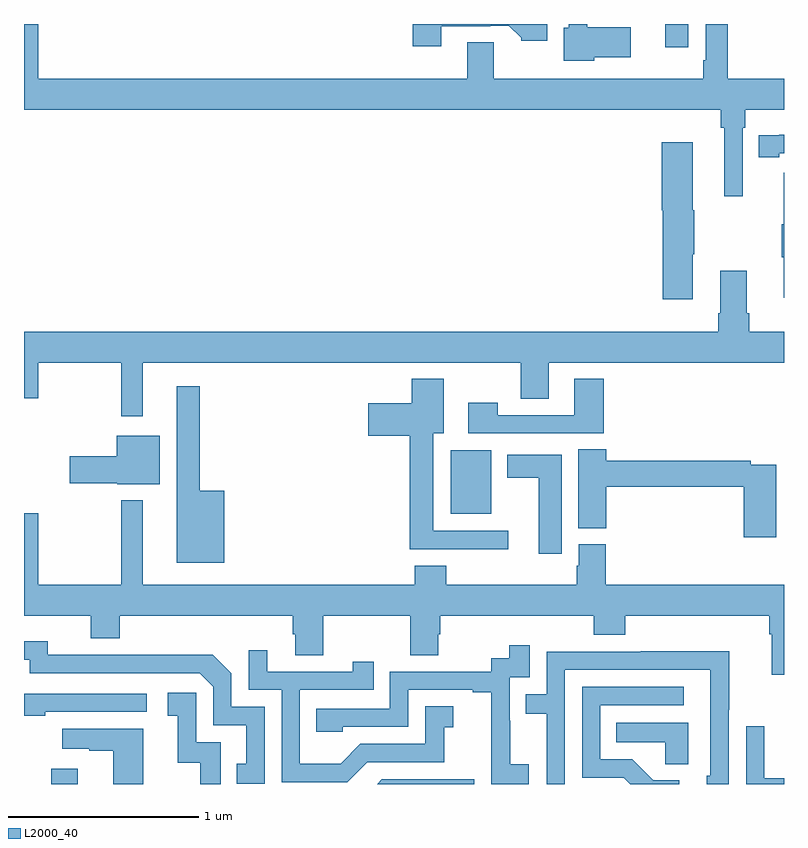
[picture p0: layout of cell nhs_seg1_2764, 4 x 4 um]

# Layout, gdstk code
import gdstk
lib = gdstk.Library(unit=1e-6, precision=1e-09)
def R(c, l, rs):  # rectangles x0, y0, x1, y1
    for r in rs: c.add(gdstk.rectangle(r[:2], r[2:], *l))
def P(c, l, *ps):  # polygons
    for p in ps: c.add(gdstk.Polygon(p, *l))
L2000_40 = (2000, 40)

nhs_seg1_2764 = lib.new_cell('nhs_seg1_2764')
R(nhs_seg1_2764, L2000_40, [(261.143,532.199,261.283,532.279), (263.246,533.621,263.458,533.956), (264.374,536.076,264.496,536.199)])
P(nhs_seg1_2764, L2000_40, [(264.783,535.652),(264.797,535.652),(264.797,535.748),(265,535.748),(265,535.912),(264.704,535.912),(264.704,536.199),(264.588,536.199),(264.588,536.008),(264.576,536.008),(264.576,535.912),(263.473,535.912),(263.473,536.102),(263.333,536.102),(263.333,535.912),(261.076,535.912),(261.076,536.199),(261,536.199),(261,535.748),(264.667,535.748),(264.667,535.652),(264.686,535.652),(264.686,535.293),(264.783,535.293)],
  [(263.197,536.187),(263.453,536.187),(263.453,536.19),(263.552,536.19),(263.616,536.126),(263.616,536.111),(263.755,536.111),(263.755,536.199),(263.045,536.199),(263.045,536.082),(263.197,536.082)],
  [(264,536.024),(264.193,536.024),(264.193,536.182),(263.964,536.182),(263.964,536.199),(263.868,536.199),(263.868,536.178),(263.84,536.178),(263.84,536.006),(264,536.006)],
  [(264.976,535.518),(265,535.518),(265,535.615),(264.976,535.615),(264.976,535.614),(264.868,535.614),(264.868,535.498),(264.976,535.498)],
  [(264.52,534.988),(264.528,534.988),(264.528,535.218),(264.52,535.218),(264.52,535.576),(264.356,535.576),(264.356,535.218),(264.362,535.218),(264.362,534.75),(264.52,534.75)],
  [(265,535.417),(264.998,535.417),(264.998,535.145),(264.987,535.145),(264.987,534.971),(264.998,534.971),(264.998,534.759),(265,534.759)],
  [(261.625,534.416),(263.614,534.416),(263.614,534.226),(263.761,534.226),(263.761,534.416),(265,534.416),(265,534.58),(264.818,534.58),(264.818,534.676),(264.805,534.676),(264.805,534.901),(264.665,534.901),(264.665,534.676),(264.653,534.676),(264.653,534.58),(261,534.58),(261,534.228),(261.076,534.228),(261.076,534.416),(261.511,534.416),(261.511,534.135),(261.625,534.135)],
  [(264.05,534.331),(263.897,534.331),(263.897,534.141),(263.493,534.141),(263.493,534.205),(263.337,534.205),(263.337,534.045),(264.05,534.045)],
  [(263.548,533.532),(263.155,533.532),(263.155,534.044),(263.209,534.044),(263.209,534.331),(263.042,534.331),(263.042,534.202),(262.812,534.202),(262.812,534.032),(263.03,534.032),(263.03,533.435),(263.548,533.435)],
  [(262.054,533.743),(261.925,533.743),(261.925,534.292),(261.803,534.292),(261.803,533.363),(262.054,533.363)],
  [(261.715,534.031),(261.488,534.031),(261.488,533.925),(261.24,533.925),(261.24,533.783),(261.492,533.783),(261.492,533.777),(261.715,533.777)],
  [(264.958,533.88),(264.824,533.88),(264.824,533.9),(264.065,533.9),(264.065,533.96),(263.918,533.96),(263.918,533.545),(264.065,533.545),(264.065,533.764),(264.788,533.764),(264.788,533.499),(264.958,533.499)],
  [(263.83,533.932),(263.543,533.932),(263.543,533.81),(263.708,533.81),(263.708,533.412),(263.83,533.412)],
  [(265,533.248),(264.062,533.248),(264.062,533.46),(263.921,533.46),(263.921,533.349),(263.909,533.349),(263.909,533.248),(263.222,533.248),(263.222,533.347),(263.057,533.347),(263.057,533.248),(261.625,533.248),(261.625,533.692),(261.511,533.692),(261.511,533.248),(261.076,533.248),(261.076,533.623),(261,533.623),(261,533.084),(261.35,533.084),(261.35,532.967),(261.503,532.967),(261.503,533.084),(262.415,533.084),(262.415,532.986),(262.427,532.986),(262.427,532.876),(262.575,532.876),(262.575,533.084),(263.032,533.084),(263.032,532.876),(263.179,532.876),(263.179,532.986),(263.192,532.986),(263.192,533.084),(263.999,533.084),(263.999,532.985),(264.164,532.985),(264.164,533.084),(264.923,533.084),(264.923,532.988),(264.935,532.988),(264.935,532.775),(265,532.775)],
  [(262.266,532.605),(262.092,532.605),(262.092,532.782),(261.994,532.88),(261.586,532.88),(261.586,532.878),(261.126,532.878),(261.126,532.951),(261,532.951),(261,532.854),(261.03,532.854),(261.03,532.782),(261.924,532.782),(261.996,532.71),(261.996,532.509),(262.169,532.509),(262.169,532.305),(262.12,532.305),(262.12,532.2),(262.266,532.2)],
  [(263.656,532.303),(263.558,532.303),(263.558,532.532),(263.556,532.532),(263.556,532.761),(263.661,532.761),(263.661,532.93),(263.553,532.93),(263.553,532.86),(263.46,532.86),(263.46,532.791),(262.926,532.791),(262.926,532.596),(262.537,532.596),(262.537,532.473),(262.677,532.473),(262.677,532.5),(263.022,532.5),(263.022,532.695),(263.363,532.695),(263.363,532.683),(263.459,532.683),(263.459,532.399),(263.458,532.399),(263.458,532.199),(263.656,532.199)],
  [(262.807,532.314),(263.211,532.314),(263.211,532.499),(263.26,532.499),(263.26,532.609),(263.112,532.609),(263.112,532.41),(262.77,532.41),(262.666,532.306),(262.452,532.306),(262.452,532.695),(262.841,532.695),(262.841,532.843),(262.73,532.843),(262.73,532.791),(262.279,532.791),(262.279,532.903),(262.182,532.903),(262.182,532.695),(262.356,532.695),(262.356,532.209),(262.702,532.209)],
  [(263.847,532.8),(264.612,532.8),(264.612,532.242),(264.593,532.242),(264.593,532.199),(264.708,532.199),(264.708,532.591),(264.711,532.591),(264.711,532.898),(264.247,532.898),(264.247,532.896),(263.751,532.896),(263.751,532.671),(263.641,532.671),(263.641,532.57),(263.751,532.57),(263.751,532.199),(263.847,532.199)],
  [(264.448,532.218),(264.313,532.218),(264.202,532.329),(264.033,532.329),(264.033,532.614),(264.472,532.614),(264.472,532.71),(263.937,532.71),(263.937,532.233),(264.156,532.233),(264.19,532.199),(264.448,532.199)],
  [(262.035,532.419),(261.906,532.419),(261.906,532.678),(261.756,532.678),(261.756,532.557),(261.809,532.557),(261.809,532.311),(261.927,532.311),(261.927,532.199),(262.035,532.199)],
  [(261.113,532.578),(261.646,532.578),(261.646,532.674),(261,532.674),(261,532.558),(261.113,532.558)],
  [(264.496,532.522),(264.118,532.522),(264.118,532.418),(264.375,532.418),(264.375,532.303),(264.496,532.303)],
  [(265,532.23),(264.897,532.23),(264.897,532.504),(264.801,532.504),(264.801,532.199),(265,532.199)],
  [(261.628,532.489),(261.201,532.489),(261.201,532.385),(261.344,532.385),(261.344,532.375),(261.47,532.375),(261.47,532.199),(261.628,532.199)],
  [(263.37,532.224),(262.884,532.224),(262.859,532.199),(263.37,532.199)])

lib.write_gds('nhs_seg1_2764.gds')
